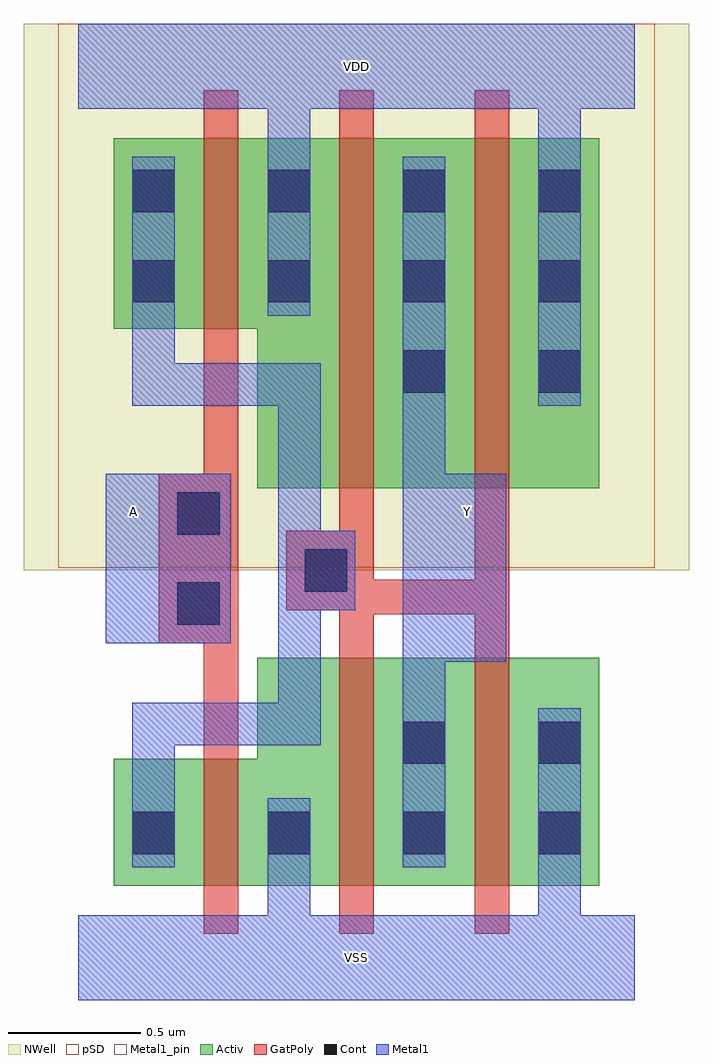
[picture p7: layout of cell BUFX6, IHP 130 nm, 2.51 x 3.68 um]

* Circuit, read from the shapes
.subckt BUFX6 A VDD VSS Y
XM1 VSS A n1 VSUBS sg13_lv_nmos w=0.48u l=0.13u
XM2 Y n1 VSS VSUBS sg13_lv_nmos w=0.86u l=0.13u m=2
XM3 VDD A n1 n2 sg13_lv_pmos w=0.72u l=0.13u
XM4 Y n1 VDD n2 sg13_lv_pmos w=1.32u l=0.13u m=2
.ends

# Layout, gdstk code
import gdstk
lib = gdstk.Library(unit=1e-6, precision=1e-09)
def R(c, l, rs):  # rectangles x0, y0, x1, y1
    for r in rs: c.add(gdstk.rectangle(r[:2], r[2:], *l))
def A(c, l, x, y, w, h, nx, ny, dx, dy):  # array of equal rectangles
    R(c, l, [(x+i*dx, y+j*dy, x+i*dx+w, y+j*dy+h) for i in range(nx) for j in range(ny)])
def P(c, l, *ps):  # polygons
    for p in ps: c.add(gdstk.Polygon(p, *l))
Activ = (1, 0)
GatPoly = (5, 0)
Cont = (6, 0)
Metal1 = (8, 0)
Metal1_pin = (8, 2)
pSD = (14, 0)
NWell = (31, 0)

bufx6 = lib.new_cell('BUFX6')
P(bufx6, Activ, [(1.965,3.09),(0.135,3.09),(0.135,2.37),(0.675,2.37),(0.675,1.77),(1.965,1.77)],
  [(1.965,1.13),(0.675,1.13),(0.675,0.75),(0.135,0.75),(0.135,0.27),(1.965,0.27)])
P(bufx6, GatPoly, [(0.605,3.27),(0.475,3.27),(0.475,1.825),(0.305,1.825),(0.305,1.185),(0.475,1.185),(0.475,0.09),(0.605,0.09)],
  [(1.625,3.27),(1.495,3.27),(1.495,1.425),(1.115,1.425),(1.115,3.27),(0.985,3.27),(0.985,1.61),(0.785,1.61),(0.785,1.31),(0.985,1.31),(0.985,0.09),(1.115,0.09),(1.115,1.295),(1.495,1.295),(1.495,0.09),(1.625,0.09)])
A(bufx6, Cont, 0.205, 0.39, 0.16, 0.16, 4, 2, 0.51, 2.08)
A(bufx6, Cont, 0.205, 2.81, 0.16, 0.16, 4, 1, 0.51, 0)
R(bufx6, Cont, [(1.225,0.73,1.385,0.89), (1.735,0.73,1.895,0.89), (0.375,1.255,0.535,1.415), (0.855,1.38,1.015,1.54), (0.375,1.595,0.535,1.755), (1.225,2.13,1.385,2.29), (1.735,2.13,1.895,2.29)])
R(bufx6, Metal1, [(0.105,1.185,0.575,1.825)])
P(bufx6, Metal1, [(1.615,1.825),(1.385,1.825),(1.385,3.02),(1.225,3.02),(1.225,0.34),(1.385,0.34),(1.385,1.115),(1.615,1.115)],
  [(1.045,1.61),(0.915,1.61),(0.915,2.24),(0.365,2.24),(0.365,3.02),(0.205,3.02),(0.205,2.08),(0.755,2.08),(0.755,0.96),(0.205,0.96),(0.205,0.34),(0.365,0.34),(0.365,0.8),(0.915,0.8),(0.915,1.31),(1.045,1.31)],
  [(2.1,3.52),(0,3.52),(0,3.2),(0.715,3.2),(0.715,2.42),(0.875,2.42),(0.875,3.2),(1.735,3.2),(1.735,2.08),(1.895,2.08),(1.895,3.2),(2.1,3.2)],
  [(2.1,0.16),(1.895,0.16),(1.895,0.94),(1.735,0.94),(1.735,0.16),(0.875,0.16),(0.875,0.6),(0.715,0.6),(0.715,0.16),(0,0.16),(0,-0.16),(2.1,-0.16)])
R(bufx6, Metal1_pin, [(1.225,0.34,1.385,1.115), (1.225,1.115,1.615,1.825), (0.105,1.185,0.575,1.825), (1.225,1.825,1.385,3.02)])
P(bufx6, Metal1_pin, [(2.1,3.52),(0,3.52),(0,3.2),(0.715,3.2),(0.715,2.42),(0.875,2.42),(0.875,3.2),(1.735,3.2),(1.735,2.08),(1.895,2.08),(1.895,3.2),(2.1,3.2)],
  [(2.1,0.16),(1.895,0.16),(1.895,0.94),(1.735,0.94),(1.735,0.16),(0.875,0.16),(0.875,0.6),(0.715,0.6),(0.715,0.16),(0,0.16),(0,-0.16),(2.1,-0.16)])
R(bufx6, pSD, [(-0.075,1.47,2.175,3.52)])
R(bufx6, NWell, [(-0.205,1.46,2.305,3.52)])
bufx6.add(gdstk.Label('Y', (1.47,1.68), layer=8, texttype=25))
bufx6.add(gdstk.Label('VDD', (1.05,3.36), layer=8, texttype=25))
bufx6.add(gdstk.Label('VSS', (1.05,0), layer=8, texttype=25))
bufx6.add(gdstk.Label('A', (0.21,1.68), layer=8, texttype=25))

lib.write_gds('BUFX6.gds')
